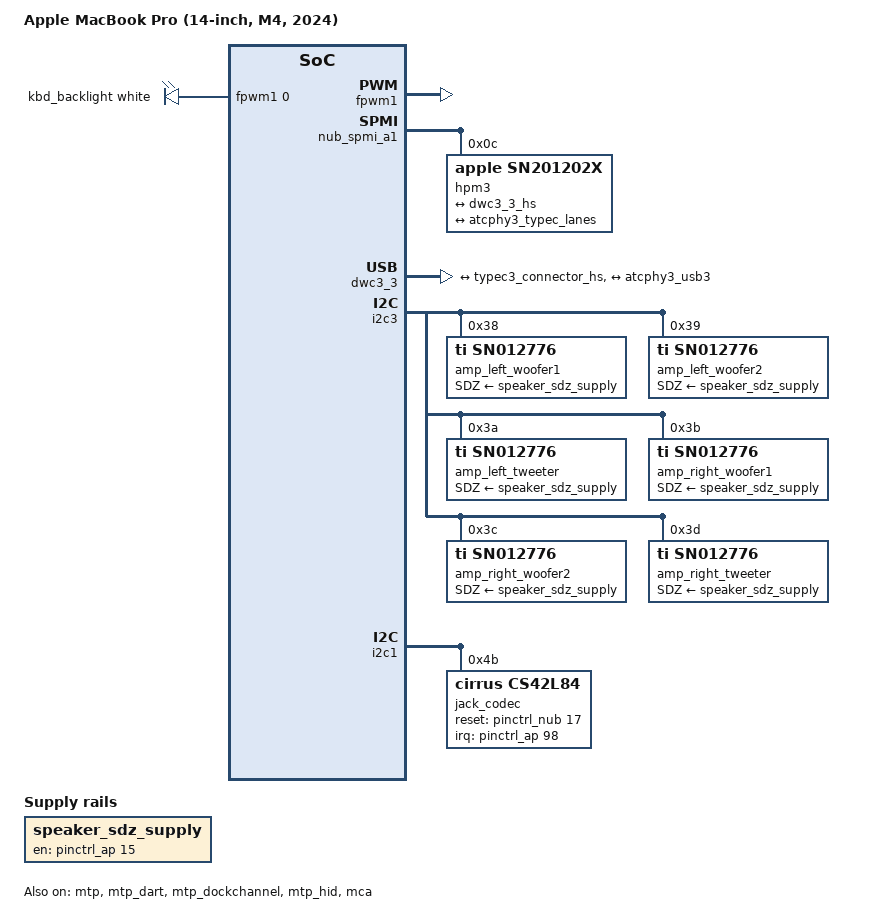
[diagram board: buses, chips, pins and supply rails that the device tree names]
// SPDX-License-Identifier: GPL-2.0+ OR MIT
/*
 * Apple MacBook Pro (14-inch, M4, 2024)
 *
 * target-type: J604
 *
 * Copyright The Asahi Linux Contributors
 */

/dts-v1/;

#include "t8132.dtsi"
#include "t8132-jxxx.dtsi"
#include "t8132-gpu.dtsi"
#include "t8132-mtp.dtsi"
#include <dt-bindings/leds/common.h>

/ {
	compatible = "apple,j604", "apple,t8132", "apple,arm-platform";
	model = "Apple MacBook Pro (14-inch, M4, 2024)";

	led-controller {
		compatible = "pwm-leds";
		led-0 {
			pwms = <&fpwm1 0 40000>;
			label = "kbd_backlight";
			function = LED_FUNCTION_KBD_BACKLIGHT;
			color = <LED_COLOR_ID_WHITE>;
			max-brightness = <255>;
			default-state = "keep";
		};
	};
};

&fpwm1 {
	status = "okay";
};

/*
 * Add the additional USB type C port
 */

&nub_spmi_a1 {
	hpm3: usb-pd@c {
		compatible = "apple,sn201202x";
		reg = <0xc SPMI_USID>;
		interrupts = <11 IRQ_TYPE_EDGE_RISING>,
			<13 IRQ_TYPE_EDGE_RISING>,
			<17 IRQ_TYPE_EDGE_RISING>,
			<19 IRQ_TYPE_EDGE_RISING>;
		interrupt-names = "irq", "select", "sleep", "wake";

		typec3: connector {
			label = "USB-C Right";
			compatible = "usb-c-connector";
			power-role = "dual";
			data-role = "dual";

			ports {
				#address-cells = <1>;
				#size-cells = <0>;
				port@0 {
					reg = <0>;
					typec3_connector_hs: endpoint {
						remote-endpoint = <&dwc3_3_hs>;
					};
				};
				port@1 {
					reg = <1>;
					typec3_connector_ss: endpoint {
						remote-endpoint = <&atcphy3_typec_lanes>;
					};
				};
			};
		};
	};
};

&dwc3_3 {
	ports {
		#address-cells = <1>;
		#size-cells = <0>;

		port@0 {
			reg = <0>;
			dwc3_3_hs: endpoint {
				remote-endpoint = <&typec3_connector_hs>;
			};
		};
		port@1 {
			reg = <1>;
			dwc3_3_ss: endpoint {
				remote-endpoint = <&atcphy3_usb3>;
			};
		};
	};
};

&atcphy3 {
	ports {
		#address-cells = <1>;
		#size-cells = <0>;

		port@0 {
			reg = <0>;
			atcphy3_typec_lanes: endpoint {
				remote-endpoint = <&typec3_connector_ss>;
			};
		};

		port@1 {
			reg = <1>;
			atcphy3_usb3: endpoint {
				remote-endpoint = <&dwc3_3_ss>;
			};
		};
	};
};

&mtp {
	status = "okay";
};

&mtp_mbox {
	status = "okay";
};

&mtp_dart {
	status = "okay";
};

&mtp_dockchannel {
	status = "okay";
};

&mtp_hid {
	status = "okay";
	wakeup-source;

	multi-touch {
		firmware-name = "apple/tpmtfw-j604.bin";
		/* J713 uses SMC gP1c (0x1c), active-low AFE reset; J604 TBD. */
		reset-gpios = <&smc_gpio 0x1c GPIO_ACTIVE_LOW>;
	};

	keyboard: keyboard {
		hid-country-code = <0>;
		apple,keyboard-layout-id = <0>;
	};

	stm {
	};

	actuator {
	};

	tp-accel {
	};

	mtp {
	};
};

&bluetooth0 {
	brcm,board-type = "apple,guam";
};

/* J604 audio: 6x TAS2764 (sn012776) speaker amps + CS42L84 headphone jack.
 * I2C addresses, sense slots and TDM masks from the J604 live ADT.
 * Amps on i2c3 (0x38-0x3d), jack codec on i2c1 (0x4b).
 * Same GPIOs as J713 (T8132): codec reset nub 17, codec IRQ ap 98, SDZ ap 15.
 */
/ {
	sound {
		compatible = "apple,j604-macaudio", "apple,macaudio";
		model = "MacBook Pro J604";

		dai-link@0 {
			link-name = "Speakers";
			/*
			 * The MCA receives sense data from both ports at once, and
			 * a port's line keeps its last level after its amps' slots.
			 * As in the ADT amp-tx-zd-config, the first amp on each
			 * port drives zeros in the other port's slots.
			 */
			dai-tdm-idle-mode-0 = "zero";
			dai-tdm-idle-mode-2 = "zero";
			dai-tdm-slot-tx-idle-mask-0 = <0xfff0f0f0>;
			dai-tdm-slot-tx-idle-mask-2 = <0xff0f0f0f>;

			cpu {
				sound-dai = <&mca 0>, <&mca 1>;
			};
			codec {
				sound-dai = <&amp_left_woofer1>, <&amp_left_woofer2>,
					    <&amp_left_tweeter>,
					    <&amp_right_woofer1>, <&amp_right_woofer2>,
					    <&amp_right_tweeter>;
			};
		};

		dai-link@1 {
			link-name = "Headphone Jack";

			cpu {
				sound-dai = <&mca 2>;
			};
			codec {
				sound-dai = <&jack_codec>;
			};
		};
	};

	speaker_sdz_supply: regulator-speaker-sdz {
		compatible = "regulator-fixed";
		regulator-name = "speaker-sdz";
		gpio = <&pinctrl_ap 15 GPIO_ACTIVE_HIGH>;
		enable-active-high;
		startup-delay-us = <2000>;
	};
};

&admac {
	status = "okay";
};

&mca {
	status = "okay";
	/* Speakers and their sense on cluster 0, the jack on cluster 2 */
	dmas = <&admac 0>, <&admac 1>, <&admac 4>;
	dma-names = "tx0a", "rx0b", "tx2a";
};

&i2c3 {
	status = "okay";

	amp_left_woofer1: amplifier@38 {
		compatible = "ti,sn012776", "ti,tas2764";
		reg = <0x38>;
		#sound-dai-cells = <0>;
		sound-name-prefix = "Left Woofer 1";
		SDZ-supply = <&speaker_sdz_supply>;
		ti,vmon-slot-no = <0>;
		ti,imon-slot-no = <2>;
	};

	amp_left_woofer2: amplifier@39 {
		compatible = "ti,sn012776", "ti,tas2764";
		reg = <0x39>;
		#sound-dai-cells = <0>;
		sound-name-prefix = "Left Woofer 2";
		SDZ-supply = <&speaker_sdz_supply>;
		ti,vmon-slot-no = <4>;
		ti,imon-slot-no = <6>;
	};

	amp_left_tweeter: amplifier@3a {
		compatible = "ti,sn012776", "ti,tas2764";
		reg = <0x3a>;
		#sound-dai-cells = <0>;
		sound-name-prefix = "Left Tweeter";
		SDZ-supply = <&speaker_sdz_supply>;
		ti,vmon-slot-no = <8>;
		ti,imon-slot-no = <10>;
	};

	amp_right_woofer1: amplifier@3b {
		compatible = "ti,sn012776", "ti,tas2764";
		reg = <0x3b>;
		#sound-dai-cells = <0>;
		sound-name-prefix = "Right Woofer 1";
		SDZ-supply = <&speaker_sdz_supply>;
		ti,vmon-slot-no = <12>;
		ti,imon-slot-no = <14>;
	};

	amp_right_woofer2: amplifier@3c {
		compatible = "ti,sn012776", "ti,tas2764";
		reg = <0x3c>;
		#sound-dai-cells = <0>;
		sound-name-prefix = "Right Woofer 2";
		SDZ-supply = <&speaker_sdz_supply>;
		ti,vmon-slot-no = <16>;
		ti,imon-slot-no = <18>;
	};

	amp_right_tweeter: amplifier@3d {
		compatible = "ti,sn012776", "ti,tas2764";
		reg = <0x3d>;
		#sound-dai-cells = <0>;
		sound-name-prefix = "Right Tweeter";
		SDZ-supply = <&speaker_sdz_supply>;
		ti,vmon-slot-no = <20>;
		ti,imon-slot-no = <22>;
	};
};

&i2c1 {
	status = "okay";

	jack_codec: codec@4b {
		compatible = "cirrus,cs42l84";
		reg = <0x4b>;
		#sound-dai-cells = <0>;
		reset-gpios = <&pinctrl_nub 17 GPIO_ACTIVE_HIGH>;
		interrupts-extended = <&pinctrl_ap 98 IRQ_TYPE_LEVEL_LOW>;
		sound-name-prefix = "Jack";
	};
};
